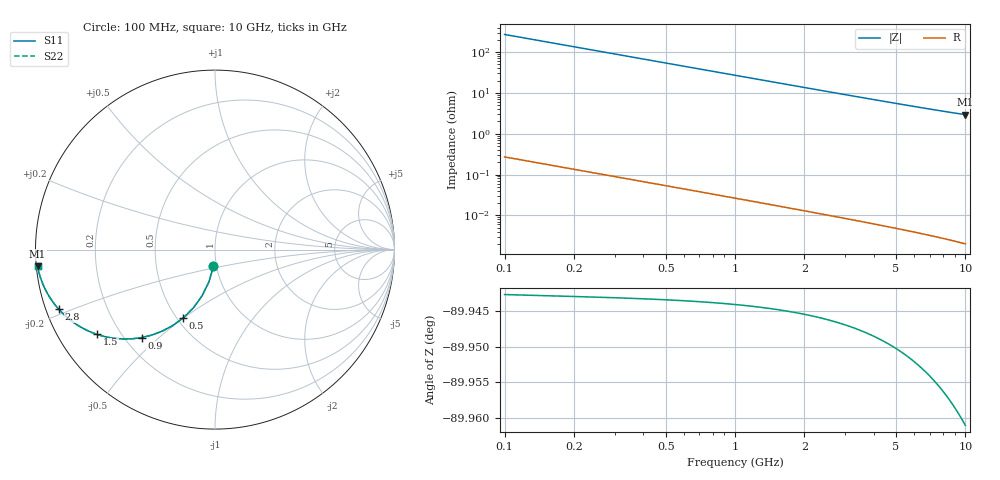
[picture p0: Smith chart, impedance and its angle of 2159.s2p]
# Hz S RI R 50.00
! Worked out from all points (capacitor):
!   100 points, 100 MHz to 10 GHz, reference 50 ohm
!   read as one part in shunt: C = 5.89 pF near 100 MHz
!   lowest |Z| = 2.93 ohm at 10 GHz (marker M1)
!   S11 on the Smith chart (normalised r, x): 100 MHz: 0.97, -0.18; 500 MHz: 0.54, -0.50; 900 MHz: 0.27, -0.44; 1.5 GHz: 0.12, -0.32; 2.8 GHz: 0.04, -0.18; 10 GHz: 0.00, -0.05
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1e8  -0.00855 -0.0916  0.9914 -0.0918  0.9914 -0.0918  -0.00855 -0.0916
2e8  -0.0333 -0.1787  0.9667 -0.1791  0.9667 -0.1791  -0.0333 -0.1787
3e8  -0.0717 -0.2573  0.9282 -0.2579  0.9282 -0.2579  -0.0717 -0.2573
4e8  -0.1207 -0.3249  0.8792 -0.3257  0.8792 -0.3257  -0.1207 -0.3249
5e8  -0.1765 -0.3803  0.8234 -0.3813  0.8234 -0.3813  -0.1765 -0.3803
6e8  -0.2358 -0.4234  0.7642 -0.4246  0.7642 -0.4246  -0.2358 -0.4234
7e8  -0.2956 -0.4551  0.7043 -0.4566  0.7043 -0.4566  -0.2956 -0.4551
8e8  -0.354 -0.4769  0.6459 -0.4786  0.6459 -0.4786  -0.354 -0.4769
9e8  -0.4095 -0.4903  0.5905 -0.4922  0.5905 -0.4922  -0.4095 -0.4903
1e9  -0.4611 -0.4969  0.5388 -0.499  0.5388 -0.499  -0.4611 -0.4969
1.2e9  -0.5519 -0.4955  0.448 -0.4981  0.448 -0.4981  -0.5519 -0.4955
1.5e9  -0.6579 -0.4723  0.342 -0.4755  0.342 -0.4755  -0.6579 -0.4723
1.8e9  -0.7346 -0.4391  0.2653 -0.4429  0.2653 -0.4429  -0.7346 -0.4391
2e9  -0.7735 -0.4159  0.2264 -0.4201  0.2264 -0.4201  -0.7735 -0.4159
2.3e9  -0.8187 -0.3823  0.1812 -0.3872  0.1812 -0.3872  -0.8187 -0.3823
2.8e9  -0.8699 -0.3328  0.13 -0.3388  0.13 -0.3388  -0.8699 -0.3328
3.4e9  -0.9079 -0.2849  0.092 -0.2922  0.092 -0.2922  -0.9079 -0.2849
4.2e9  -0.9377 -0.2365  0.0622 -0.2456  0.0622 -0.2456  -0.9377 -0.2365
5.1e9  -0.9569 -0.1968  0.0429 -0.2078  0.0429 -0.2078  -0.9569 -0.1968
6.7e9  -0.9747 -0.1488  0.0251 -0.1636  0.0251 -0.1636  -0.9747 -0.1488
8.4e9  -0.9839 -0.1155  0.0159 -0.1343  0.0159 -0.1343  -0.9839 -0.1155
1e10  -0.9887 -0.0932  0.011 -0.1158  0.011 -0.1158  -0.9887 -0.0932
